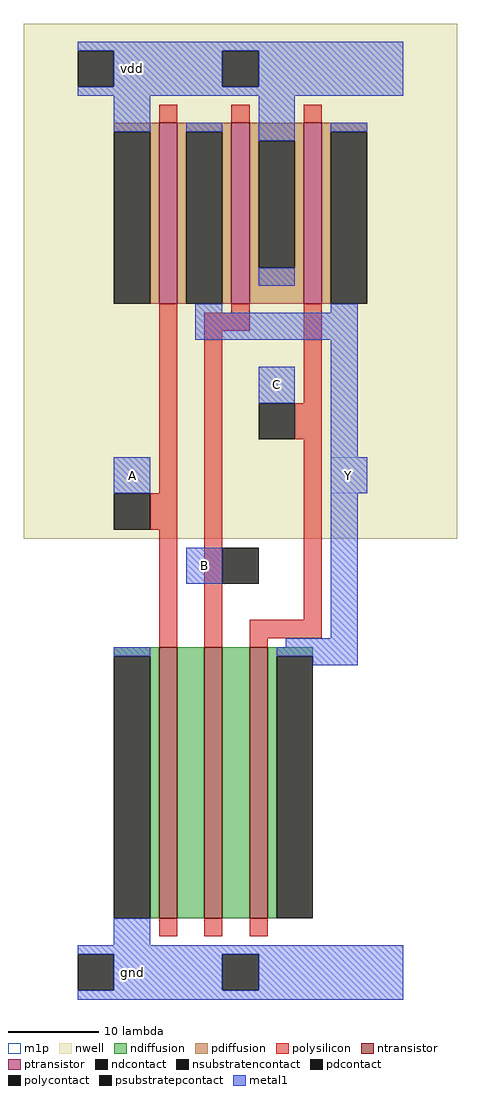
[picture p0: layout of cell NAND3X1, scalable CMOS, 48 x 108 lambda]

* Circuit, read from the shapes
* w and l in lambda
.subckt NAND3X1 A B C Y gnd vdd
M1 n1 A gnd gnd nfet w=30 l=2
M2 n2 B n1 gnd nfet w=30 l=2
M3 Y C n2 gnd nfet w=30 l=2
M4 Y A vdd vdd pfet w=20 l=2
M5 vdd B Y vdd pfet w=20 l=2
M6 Y C vdd vdd pfet w=20 l=2
.ends

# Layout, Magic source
magic
tech scmos
<< nwell >>
rect -8 48 40 105
<< ntransistor >>
rect 7 6 9 36
rect 12 6 14 36
rect 17 6 19 36
<< ptransistor >>
rect 7 74 9 94
rect 15 74 17 94
rect 23 74 25 94
<< ndiffusion >>
rect 2 35 7 36
rect 6 6 7 35
rect 9 6 12 36
rect 14 6 17 36
rect 19 35 24 36
rect 19 6 20 35
<< pdiffusion >>
rect 2 93 7 94
rect 6 74 7 93
rect 9 93 15 94
rect 9 74 10 93
rect 14 74 15 93
rect 17 92 23 94
rect 17 78 18 92
rect 22 78 23 92
rect 17 74 23 78
rect 25 93 30 94
rect 25 74 26 93
<< ndcontact >>
rect 2 6 6 35
rect 20 6 24 35
<< pdcontact >>
rect 2 74 6 93
rect 10 74 14 93
rect 18 78 22 92
rect 26 74 30 93
<< psubstratepcontact >>
rect -2 -2 2 2
rect 14 -2 18 2
<< nsubstratencontact >>
rect -2 98 2 102
rect 14 98 18 102
<< polysilicon >>
rect 7 94 9 96
rect 15 94 17 96
rect 23 94 25 96
rect 7 53 9 74
rect 15 73 17 74
rect 6 49 9 53
rect 7 36 9 49
rect 12 71 17 73
rect 12 36 14 71
rect 23 63 25 74
rect 22 59 25 63
rect 23 39 25 59
rect 17 37 25 39
rect 17 36 19 37
rect 7 4 9 6
rect 12 4 14 6
rect 17 4 19 6
<< polycontact >>
rect 2 49 6 53
rect 18 59 22 63
rect 14 43 18 47
<< metal1 >>
rect -2 102 34 103
rect 2 98 14 102
rect 18 98 34 102
rect -2 97 34 98
rect 2 93 6 97
rect 10 93 14 94
rect 18 92 22 97
rect 18 76 22 78
rect 26 93 30 94
rect 11 73 14 74
rect 26 73 29 74
rect 11 70 29 73
rect 18 63 22 67
rect 26 57 29 70
rect 2 53 6 57
rect 26 53 30 57
rect 10 43 14 47
rect 26 37 29 53
rect 21 36 29 37
rect 2 35 6 36
rect 20 35 29 36
rect 24 34 29 35
rect 2 3 6 6
rect -2 2 34 3
rect 2 -2 14 2
rect 18 -2 34 2
rect -2 -3 34 -2
<< m1p >>
rect 18 63 22 67
rect 2 53 6 57
rect 26 53 30 57
rect 10 43 14 47
<< labels >>
rlabel metal1 12 45 12 45 4 B
rlabel metal1 4 100 4 100 4 vdd
rlabel metal1 4 0 4 0 4 gnd
rlabel metal1 4 55 4 55 4 A
rlabel metal1 20 65 20 65 4 C
rlabel metal1 28 55 28 55 4 Y
<< end >>
